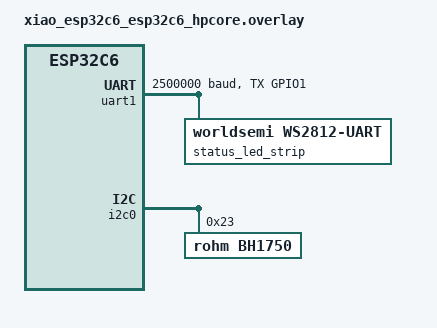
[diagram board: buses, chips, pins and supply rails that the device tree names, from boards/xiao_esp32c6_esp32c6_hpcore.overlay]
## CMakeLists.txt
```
# SPDX-License-Identifier: MIT

cmake_minimum_required(VERSION 3.20.0)

find_package(Zephyr REQUIRED HINTS $ENV{ZEPHYR_BASE})
project(mmwavevizlog_runtime VERSION 0.2.0 LANGUAGES C CXX)

set_source_files_properties(src/net_services.c PROPERTIES LANGUAGE CXX)

target_include_directories(app PRIVATE
  src
  drivers/mr60bha2
)

target_sources(app PRIVATE
  src/main.c
  src/app_state.c
  src/ambient_light.c
  src/led_control.c
  src/ota_control.c
  src/json_stream.c
  src/net_services.c
  drivers/mr60bha2/mr60bha2.c
  drivers/mr60bha2/mr60bha2_parser.c
)
```

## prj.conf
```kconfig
# Core console and runtime support.
CONFIG_SERIAL=y
CONFIG_CONSOLE=y
CONFIG_UART_CONSOLE=y
CONFIG_PRINTK=y
CONFIG_THREAD_NAME=y
CONFIG_ASSERT=y
CONFIG_BOOTLOADER_MCUBOOT=y
CONFIG_FLASH=y
CONFIG_FLASH_MAP=y
CONFIG_STREAM_FLASH=y
CONFIG_IMG_MANAGER=y
CONFIG_IMG_BLOCK_BUF_SIZE=512
CONFIG_MCUBOOT_BOOTUTIL_LIB=y
CONFIG_REBOOT=y
CONFIG_I2C=y
CONFIG_SENSOR=y
CONFIG_BH1750=y

# Networking and Wi-Fi AP support.
CONFIG_NETWORKING=y
CONFIG_NET_IPV4=y
CONFIG_NET_TCP=y
CONFIG_NET_UDP=y
CONFIG_NET_SOCKETS=y
CONFIG_NET_SOCKETS_SERVICE=y
CONFIG_NET_SOCKETS_SERVICE_STACK_SIZE=4096
CONFIG_NET_CONFIG_SETTINGS=y
CONFIG_NET_CONFIG_AUTO_INIT=n
CONFIG_NET_CONFIG_NEED_IPV4=y
CONFIG_NET_CONFIG_MY_IPV4_ADDR="192.168.4.1"
CONFIG_NET_CONFIG_MY_IPV4_NETMASK="255.255.255.0"
CONFIG_NET_CONFIG_MY_IPV4_GW="192.168.4.1"
CONFIG_NET_DHCPV4=y
CONFIG_NET_DHCPV4_SERVER=y
CONFIG_NET_L2_WIFI_MGMT=y
CONFIG_WIFI=y
CONFIG_WIFI_NM=y
CONFIG_WIFI_USAGE_MODE_STA_AP=y
CONFIG_NET_MGMT=y
CONFIG_NET_MGMT_EVENT=y
CONFIG_NET_MGMT_EVENT_INFO=y
CONFIG_NET_MGMT_EVENT_QUEUE_SIZE=10
CONFIG_NET_MGMT_EVENT_STACK_SIZE=4096
CONFIG_NET_PKT_RX_COUNT=32
CONFIG_NET_PKT_TX_COUNT=32

# Floating point formatting is required for the JSON sample stream.
CONFIG_CBPRINTF_FP_SUPPORT=y

# Keep memory allocation out of the first firmware slice.
CONFIG_HEAP_MEM_POOL_SIZE=0

# Stack sizing for bounded producer/consumer threads.
CONFIG_MAIN_STACK_SIZE=2048
CONFIG_SYSTEM_WORKQUEUE_STACK_SIZE=2048

# Logging stays available for future hardware bring-up, but the initial data
# path uses printk JSON Lines so host tools can consume a clean stream.
CONFIG_LOG=y
CONFIG_LOG_DEFAULT_LEVEL=3

# HTTP server for dashboard and REST endpoints.
CONFIG_JSON_LIBRARY=y
CONFIG_HTTP_SERVER=y
CONFIG_HTTP_PARSER=y
CONFIG_HTTP_PARSER_URL=y
CONFIG_HTTP_SERVER_STACK_SIZE=8192
CONFIG_HTTP_SERVER_MAX_CLIENTS=2
CONFIG_HTTP_SERVER_RESOURCE_WILDCARD=y

# WS2812 status LED on GPIO1 via UART1.
CONFIG_LED_STRIP=y
CONFIG_WS2812_STRIP_UART=y
CONFIG_UART_ASYNC_API=y
```

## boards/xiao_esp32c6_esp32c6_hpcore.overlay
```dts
/*
 * SPDX-License-Identifier: MIT
 *
 * Wiring contract preserved from the Arduino quicksetup:
 * - MR60BHA2 UART RX: GPIO17
 * - MR60BHA2 UART TX: GPIO16
 * - WS2812 RGB LED: GPIO1
 * - BH1750 I2C SDA: GPIO22
 * - BH1750 I2C SCL: GPIO23
 */

#include <zephyr/dt-bindings/led/led.h>
#include <zephyr/dt-bindings/pinctrl/esp32c6-pinctrl.h>

/ {
	aliases {
		led-strip = &status_led_strip;
	};
};

&pinctrl {
	uart1_default: uart1_default {
		group1 {
			pinmux = <UART1_TX_GPIO1>;
			output-low;
		};
	};
};

&uart1 {
	status = "okay";
	current-speed = <2500000>;
	data-bits = <7>;
	tx-invert;
	pinctrl-0 = <&uart1_default>;
	pinctrl-names = "default";

	status_led_strip: ws2812-strip {
		compatible = "worldsemi,ws2812-uart";
		status = "okay";
		one-symbol = <6>;
		zero-symbol = <4>;
		bits-per-symbol = <3>;
		chain-length = <1>;
		reset-delay = <50>;
		color-mapping = <LED_COLOR_ID_GREEN
				 LED_COLOR_ID_RED
				 LED_COLOR_ID_BLUE>;
	};
};

&i2c0 {
	bh1750: bh1750@23 {
		compatible = "rohm,bh1750";
		reg = <0x23>;
		status = "okay";
	};
};
```

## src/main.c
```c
/* SPDX-License-Identifier: MIT */

#include <zephyr/kernel.h>
#include <zephyr/drivers/uart.h>
#include <zephyr/sys/printk.h>

#include "app_state.h"
#include "ambient_light.h"
#include "led_control.h"
#include "ota_control.h"
#include "json_stream.h"
#include "net_services.h"
#include "mr60bha2.h"

#define UART_POLL_SLEEP_MS 5
#define SERIAL_PERIOD_MS 1000
#define AMBIENT_LIGHT_POLL_MS 50
#define RADAR_THREAD_STACK_SIZE 2048
#define SERIAL_THREAD_STACK_SIZE 4096
#define AMBIENT_THREAD_STACK_SIZE 1024
#define RADAR_THREAD_PRIORITY 5
#define AMBIENT_THREAD_PRIORITY 6
#define SERIAL_THREAD_PRIORITY 7

static struct mr60bha2_device radar;
static const struct device *radar_uart;

static void radar_thread(void *unused_a, void *unused_b, void *unused_c)
{
	ARG_UNUSED(unused_a);
	ARG_UNUSED(unused_b);
	ARG_UNUSED(unused_c);

	while (true) {
		uint8_t byte;

		while (uart_poll_in(radar_uart, &byte) == 0) {
			const enum mr60bha2_parse_result result = mr60bha2_process_byte(&radar, byte);

			if (result == MR60BHA2_PARSE_FRAME_READY) {
				struct mr60bha2_snapshot snapshot;
				struct vislog_sample sample;

				mr60bha2_snapshot_take(&radar, &snapshot);
				vislog_app_state_apply_radar_snapshot(&snapshot);
				vislog_app_state_copy(&sample);
				vislog_led_update_from_sample(&sample);
				vislog_ota_confirm_running_image();
			}
		}

		k_sleep(K_MSEC(UART_POLL_SLEEP_MS));
	}
}

static void serial_thread(void *unused_a, void *unused_b, void *unused_c)
{
	ARG_UNUSED(unused_a);
	ARG_UNUSED(unused_b);
	ARG_UNUSED(unused_c);

	struct vislog_sample sample;

	while (true) {
		vislog_app_state_copy(&sample);
		vislog_print_sample_json(&sample);
		k_sleep(K_MSEC(SERIAL_PERIOD_MS));
	}
}

static void ambient_thread(void *unused_a, void *unused_b, void *unused_c)
{
	ARG_UNUSED(unused_a);
	ARG_UNUSED(unused_b);
	ARG_UNUSED(unused_c);

	while (true) {
		vislog_ambient_light_poll();
		k_sleep(K_MSEC(AMBIENT_LIGHT_POLL_MS));
	}
}

K_THREAD_STACK_DEFINE(radar_thread_stack, RADAR_THREAD_STACK_SIZE);
K_THREAD_STACK_DEFINE(serial_thread_stack, SERIAL_THREAD_STACK_SIZE);
K_THREAD_STACK_DEFINE(ambient_thread_stack, AMBIENT_THREAD_STACK_SIZE);

static struct k_thread radar_thread_data;
static struct k_thread serial_thread_data;
static struct k_thread ambient_thread_data;

int main(void)
{
	vislog_app_state_init();
	vislog_led_init();
	vislog_ota_init();
	vislog_ambient_light_init();
	mr60bha2_init(&radar);
	radar_uart = DEVICE_DT_GET(DT_NODELABEL(uart0));

	if (!device_is_ready(radar_uart)) {
		printk("{\"type\":\"error\",\"message\":\"radar uart not ready\"}\n");
		return 0;
	}

	printk("{\"type\":\"boot\",\"app\":\"mr60bha2_console\",\"runtime\":\"zephyr\"}\n");
	{
		struct vislog_sample sample;

		vislog_app_state_copy(&sample);
		printk("BH1750: %s\n", sample.light_ready ? "ready" : "not found");
	}

	vislog_net_services_init();

	k_thread_create(&radar_thread_data, radar_thread_stack,
			K_THREAD_STACK_SIZEOF(radar_thread_stack),
			radar_thread, NULL, NULL, NULL,
			RADAR_THREAD_PRIORITY, 0, K_NO_WAIT);
	k_thread_name_set(&radar_thread_data, "vislog_radar");

	k_thread_create(&serial_thread_data, serial_thread_stack,
			K_THREAD_STACK_SIZEOF(serial_thread_stack),
			serial_thread, NULL, NULL, NULL,
			SERIAL_THREAD_PRIORITY, 0, K_NO_WAIT);
	k_thread_name_set(&serial_thread_data, "vislog_serial");

	k_thread_create(&ambient_thread_data, ambient_thread_stack,
			K_THREAD_STACK_SIZEOF(ambient_thread_stack),
			ambient_thread, NULL, NULL, NULL,
			AMBIENT_THREAD_PRIORITY, 0, K_NO_WAIT);
	k_thread_name_set(&ambient_thread_data, "vislog_light");

	while (true) {
		k_sleep(K_SECONDS(60));
	}
}
```

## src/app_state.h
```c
/* SPDX-License-Identifier: MIT */

#ifndef VISLOG_APP_STATE_H
#define VISLOG_APP_STATE_H

#include <stdbool.h>
#include <stddef.h>
#include <stdint.h>

#include "../drivers/mr60bha2/mr60bha2.h"

#ifdef __cplusplus
extern "C" {
#endif

#define VISLOG_MAX_TARGETS 3
#define VISLOG_SOURCE_LEN 16
#define VISLOG_FW_LEN 20

struct vislog_target {
	bool valid;
	float x;
	float y;
	float distance;
	float angle;
	float speed;
	int32_t dop_index;
	int32_t cluster_index;
};

struct vislog_sample {
	float heart_rate;
	float breath_rate;
	float distance;
	float raw_distance;
	float total_phase;
	float breath_phase;
	float heart_phase;
	bool presence;
	bool presence_valid;
	char presence_source[VISLOG_SOURCE_LEN];
	bool target_valid;
	char target_source[VISLOG_SOURCE_LEN];
	uint8_t target_count;
	float target_x;
	float target_y;
	float target_distance;
	float target_angle;
	float target_speed;
	struct vislog_target targets[VISLOG_MAX_TARGETS];
	float light;
	bool light_ready;
	char console_fw[VISLOG_FW_LEN];
	bool firmware_valid;
	uint32_t firmware_raw;
	uint8_t firmware_project;
	uint8_t firmware_major;
	uint8_t firmware_sub;
	uint8_t firmware_modified;
	uint8_t led_r;
	uint8_t led_g;
	uint8_t led_b;
	uint32_t frame;
	uint32_t last_radar_ms;
	uint32_t last_presence_ms;
	uint32_t last_target_ms;
	uint32_t last_firmware_ms;
	uint32_t uptime_ms;
};

void vislog_app_state_init(void);
void vislog_app_state_apply_radar_snapshot(const struct mr60bha2_snapshot *snapshot);
void vislog_app_state_copy(struct vislog_sample *out);
void vislog_app_state_set_light(float light_lux, bool ready);
void vislog_app_state_set_led_rgb(uint8_t r, uint8_t g, uint8_t b);

#ifdef __cplusplus
}
#endif

#endif
```

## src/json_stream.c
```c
/* SPDX-License-Identifier: MIT */

#include "json_stream.h"

#include <errno.h>
#include <math.h>
#include <stdarg.h>
#include <stdio.h>
#include <zephyr/kernel.h>

struct json_writer {
	char *cursor;
	size_t remaining;
};

static int append(struct json_writer *writer, const char *fmt, ...)
{
	va_list args;

	if (writer->remaining == 0) {
		return -EMSGSIZE;
	}

	va_start(args, fmt);
	const int written = vsnprintk(writer->cursor, writer->remaining, fmt, args);
	va_end(args);

	if (written < 0 || (size_t)written >= writer->remaining) {
		return -EMSGSIZE;
	}

	writer->cursor += written;
	writer->remaining -= (size_t)written;
	return 0;
}

static int append_float(struct json_writer *writer, float value, int digits)
{
	if (!isfinite(value)) {
		return append(writer, "null");
	}

	return append(writer, "%.*f", digits, (double)value);
}

static int append_target(struct json_writer *writer, const struct vislog_target *target)
{
	int ret;

	ret = append(writer, "{\"x\":");
	if (ret < 0) {
		return ret;
	}
	ret = append_float(writer, target->x, 3);
	if (ret < 0) {
		return ret;
	}
	ret = append(writer, ",\"y\":");
	if (ret < 0) {
		return ret;
	}
	ret = append_float(writer, target->y, 3);
	if (ret < 0) {
		return ret;
	}
	ret = append(writer, ",\"distance\":");
	if (ret < 0) {
		return ret;
	}
	ret = append_float(writer, target->distance, 3);
	if (ret < 0) {
		return ret;
	}
	ret = append(writer, ",\"angle\":");
	if (ret < 0) {
		return ret;
	}
	ret = append_float(writer, target->angle, 2);
	if (ret < 0) {
		return ret;
	}
	ret = append(writer, ",\"speed\":");
	if (ret < 0) {
		return ret;
	}
	ret = append_float(writer, target->speed, 3);
	if (ret < 0) {
		return ret;
	}

	return append(writer, ",\"dop_index\":%d,\"cluster_index\":%d}",
		      target->dop_index, target->cluster_index);
}

int vislog_sample_to_json(const struct vislog_sample *sample, char *buf, size_t len)
{
	if (sample == NULL || buf == NULL || len == 0) {
		return -EINVAL;
	}

	struct json_writer writer = {
		.cursor = buf,
		.remaining = len,
	};

	int ret = append(&writer, "{\"type\":\"sample\",\"heart_rate\":");
	if (ret < 0) {
		return ret;
	}
	ret = append_float(&writer, sample->heart_rate, 2);
	if (ret < 0) {
		return ret;
	}
	ret = append(&writer, ",\"breath_rate\":");
	if (ret < 0) {
		return ret;
	}
	ret = append_float(&writer, sample->breath_rate, 2);
	if (ret < 0) {
		return ret;
	}
	ret = append(&writer, ",\"distance\":");
	if (ret < 0) {
		return ret;
	}
	ret = append_float(&writer, sample->distance, 3);
	if (ret < 0) {
		return ret;
	}
	ret = append(&writer, ",\"raw_distance\":");
	if (ret < 0) {
		return ret;
	}
	ret = append_float(&writer, sample->raw_distance, 3);
	if (ret < 0) {
		return ret;
	}
	ret = append(&writer, ",\"total_phase\":");
	if (ret < 0) {
		return ret;
	}
	ret = append_float(&writer, sample->total_phase, 3);
	if (ret < 0) {
		return ret;
	}
	ret = append(&writer, ",\"breath_phase\":");
	if (ret < 0) {
		return ret;
	}
	ret = append_float(&writer, sample->breath_phase, 3);
	if (ret < 0) {
		return ret;
	}
	ret = append(&writer, ",\"heart_phase\":");
	if (ret < 0) {
		return ret;
	}
	ret = append_float(&writer, sample->heart_phase, 3);
	if (ret < 0) {
		return ret;
	}
	ret = append(&writer,
		     ",\"presence\":%s,\"presence_valid\":%s,\"presence_source\":\"%s\""
		     ",\"target_valid\":%s,\"target_source\":\"%s\""
		     ",\"people_count\":%u,\"target_count\":%u,\"target_x\":",
		     sample->presence ? "true" : "false",
		     sample->presence_valid ? "true" : "false",
		     sample->presence_source,
		     sample->target_valid ? "true" : "false",
		     sample->target_source,
		     sample->target_count,
		     sample->target_count);
	if (ret < 0) {
		return ret;
	}
	ret = append_float(&writer, sample->target_x, 3);
	if (ret < 0) {
		return ret;
	}
	ret = append(&writer, ",\"target_y\":");
	if (ret < 0) {
		return ret;
	}
	ret = append_float(&writer, sample->target_y, 3);
	if (ret < 0) {
		return ret;
	}
	ret = append(&writer, ",\"target_distance\":");
	if (ret < 0) {
		return ret;
	}
	ret = append_float(&writer, sample->target_distance, 3);
	if (ret < 0) {
		return ret;
	}
	ret = append(&writer, ",\"target_angle\":");
	if (ret < 0) {
		return ret;
	}
	ret = append_float(&writer, sample->target_angle, 2);
	if (ret < 0) {
		return ret;
	}
	ret = append(&writer, ",\"target_speed\":");
	if (ret < 0) {
		return ret;
	}
	ret = append_float(&writer, sample->target_speed, 3);
	if (ret < 0) {
		return ret;
	}
	ret = append(&writer, ",\"targets\":[");
	if (ret < 0) {
		return ret;
	}

	for (uint8_t i = 0; i < sample->target_count && i < VISLOG_MAX_TARGETS; i++) {
		if (i > 0) {
			ret = append(&writer, ",");
			if (ret < 0) {
				return ret;
			}
		}
		ret = append_target(&writer, &sample->targets[i]);
		if (ret < 0) {
			return ret;
		}
	}

	ret = append(&writer, "],\"light\":");
	if (ret < 0) {
		return ret;
	}
	ret = append_float(&writer, sample->light, 1);
	if (ret < 0) {
		return ret;
	}

	return append(&writer,
		      ",\"light_ready\":%s,\"console_fw\":\"%s\",\"firmware_valid\":%s"
		      ",\"firmware_raw\":%u,\"firmware_project\":%u,\"firmware_major\":%u"
		      ",\"firmware_sub\":%u,\"firmware_modified\":%u"
		      ",\"led_r\":%u,\"led_g\":%u,\"led_b\":%u"
		      ",\"frame\":%u,\"last_radar_ms\":%u,\"uptime_ms\":%u}",
		      sample->light_ready ? "true" : "false",
		      sample->console_fw,
		      sample->firmware_valid ? "true" : "false",
		      sample->firmware_raw,
		      sample->firmware_project,
		      sample->firmware_major,
		      sample->firmware_sub,
		      sample->firmware_modified,
		      sample->led_r,
		      sample->led_g,
		      sample->led_b,
		      sample->frame,
		      sample->last_radar_ms,
		      sample->uptime_ms);
}

void vislog_print_sample_json(const struct vislog_sample *sample)
{
	char line[VISLOG_JSON_LINE_MAX];

	const int ret = vislog_sample_to_json(sample, line, sizeof(line));
	if (ret == 0) {
		printk("%s\n", line);
	} else {
		printk("{\"type\":\"error\",\"source\":\"json_stream\",\"code\":%d}\n", ret);
	}
}
```

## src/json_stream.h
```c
/* SPDX-License-Identifier: MIT */

#ifndef VISLOG_JSON_STREAM_H
#define VISLOG_JSON_STREAM_H

#include <stddef.h>

#include "app_state.h"

#ifdef __cplusplus
extern "C" {
#endif

#define VISLOG_JSON_LINE_MAX 1536

int vislog_sample_to_json(const struct vislog_sample *sample, char *buf, size_t len);
void vislog_print_sample_json(const struct vislog_sample *sample);

#ifdef __cplusplus
}
#endif

#endif
```

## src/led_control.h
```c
/* SPDX-License-Identifier: MIT */

#ifndef VISLOG_LED_CONTROL_H
#define VISLOG_LED_CONTROL_H

#include <stddef.h>
#include <stdint.h>

#include "app_state.h"

#ifdef __cplusplus
extern "C" {
#endif

void vislog_led_init(void);
void vislog_led_update_from_sample(const struct vislog_sample *sample);
int vislog_led_apply_json(const char *body);

#ifdef __cplusplus
}
#endif

#endif
```

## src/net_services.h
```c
/* SPDX-License-Identifier: MIT */

#ifndef VISLOG_NET_SERVICES_H
#define VISLOG_NET_SERVICES_H

#ifdef __cplusplus
extern "C" {
#endif

void vislog_net_services_init(void);

#ifdef __cplusplus
}
#endif

#endif
```

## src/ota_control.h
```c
/* SPDX-License-Identifier: MIT */

#ifndef VISLOG_OTA_CONTROL_H
#define VISLOG_OTA_CONTROL_H

#include <stddef.h>

#include <zephyr/net/http/server.h>

#ifdef __cplusplus
extern "C" {
#endif

void vislog_ota_init(void);
void vislog_ota_confirm_running_image(void);
int vislog_ota_handle_http(struct http_client_ctx *client, enum http_transaction_status status,
			   const struct http_request_ctx *request_ctx,
			   struct http_response_ctx *response_ctx);
int vislog_ota_schedule_reboot(void);

#ifdef __cplusplus
}
#endif

#endif
```
